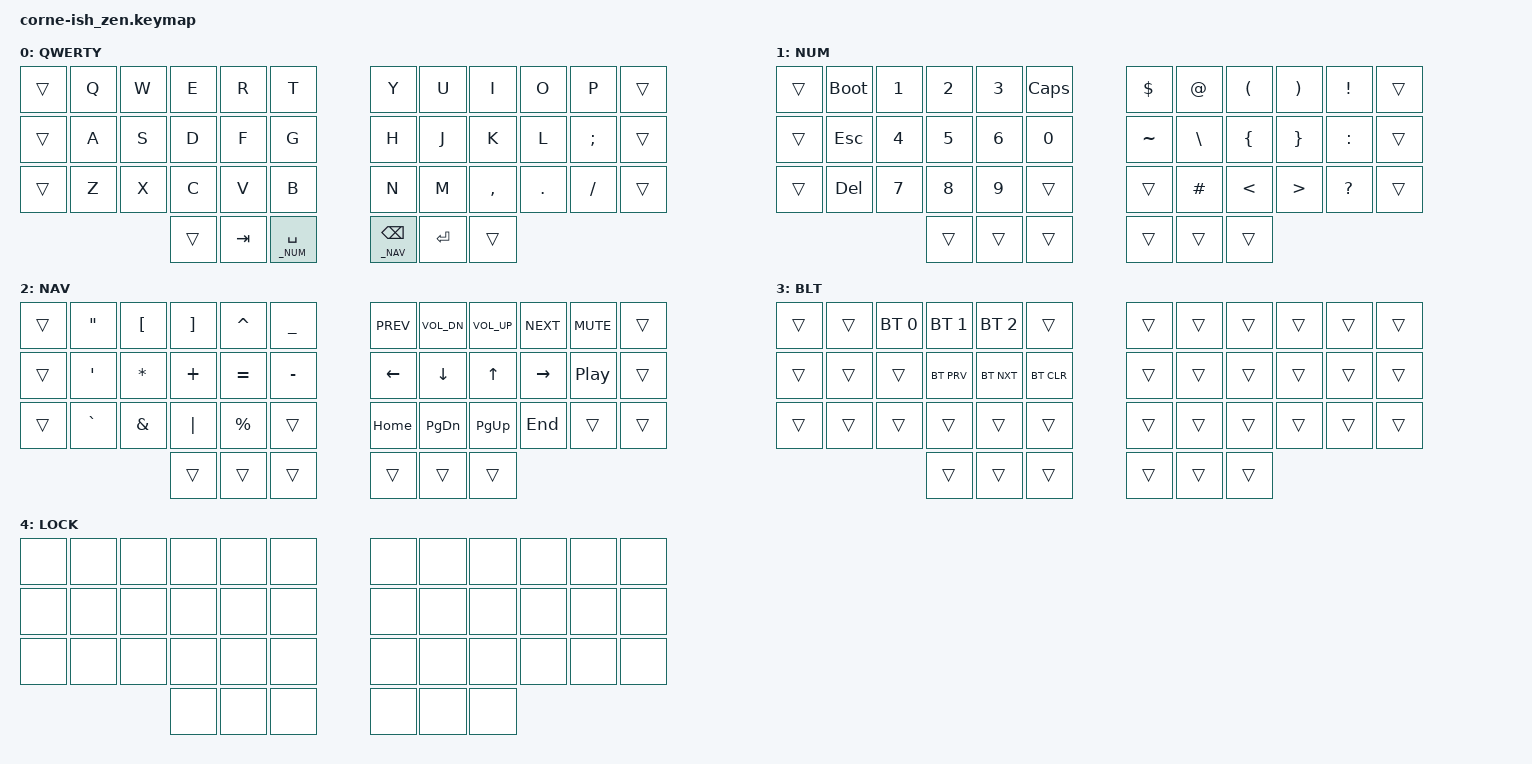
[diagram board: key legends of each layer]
#include <behaviors.dtsi>
#include <dt-bindings/zmk/keys.h>
#include <dt-bindings/zmk/bt.h>

#define _DEF 0
#define _NUM 1
#define _NAV 2
#define _BLT 3
#define _LCK 4

&lt { quick_tap_ms = <200>; };

/ {
        combos {
		compatible = "zmk,combos";

		// left mods
		lsft_c {
			timeout-ms = <50>;
			key-positions = <37 16>;
			bindings = <&kp LSHFT>;
		};

		lctl_c {
			timeout-ms = <50>;
			key-positions = <37 15>;
			bindings = <&kp LCTRL>;
		};

		lalt_c {
			timeout-ms = <50>;
			key-positions = <37 14>;
			bindings = <&kp LALT>;
		};

		lgui_c {
			timeout-ms = <50>;
			key-positions = <37 13>;
			bindings = <&kp LGUI>;
		};

		// right mods
		rsft_c {
			timeout-ms = <50>;
			key-positions = <40 19>;
			bindings = <&kp LSHFT>;
		};

		rctl_c {
			timeout-ms = <50>;
			key-positions = <40 20>;
			bindings = <&kp LCTRL>;
		};

		ralt_c {
			timeout-ms = <50>;
			key-positions = <40 21>;
			bindings = <&kp LALT>;
		};

		rgui_c {
			timeout-ms = <50>;
			key-positions = <40 22>;
			bindings = <&kp RGUI>;
		};

		// layers
		blt_c {
			timeout-ms = <50>;
			key-positions = <40 7>;
			bindings = <&mo _BLT>;
		};

		lock {
			timeout-ms = <50>;
			key-positions = <36 41>;
			bindings = <&tog _LCK>;
		};
	};

        keymap {
                compatible = "zmk,keymap";

                default_layer {
			label = "QWERTY";
// -----------------------------------------------------------------------------------------
// |     |  Q  |  W  |  E  |  R  |  T  | . |  Y   |  U  |  I  |  O  |  P  |     |
// |     |  A  |  S  |  D  |  F  |  G  | . |  H   |  J  |  K  |  L  |  ;  |     |
// |     |  Z  |  X  |  C  |  V  |  B  | . |  N   |  M  |  ,  |  .  |  /  |     |
//                   |     | TAB | SPC | . | BSPC | RET |     |
                        bindings = <
   &trans  &kp Q  &kp W  &kp E  &kp R  &kp T    &kp Y  &kp U  &kp I      &kp O    &kp P     &trans
   &trans  &kp A  &kp S  &kp D  &kp F  &kp G    &kp H  &kp J  &kp K      &kp L    &kp SEMI  &trans
   &trans  &kp Z  &kp X  &kp C  &kp V  &kp B    &kp N  &kp M  &kp COMMA  &kp DOT  &kp FSLH  &trans
             &trans  &kp TAB  &lt _NUM SPACE    &lt _NAV BSPC  &kp RET  &trans
                        >;
                };

                number_layer {
			label = "NUM";
// -----------------------------------------------------------------------------------------
// |     | RST |  1  |  2  |  3  | CAPS | . |  $  |  @  |  (  |  )  |  !  |     |
// |     | ESC |  4  |  5  |  6  |  0   | . |  ~  |  \  |  {  |  }  |  :  |     |
// |     | DEL |  7  |  8  |  9  |      | . |     |  #  |  <  |  >  |  ?  |     |
//                   |     |     |      | . |     |     |     |
                        bindings = <
   &trans  &bootloader  &kp N1  &kp N2  &kp N3  &kp CAPS    &kp DLLR   &kp AT    &kp LPAR  &kp RPAR  &kp EXCL   &trans
   &trans  &kp ESC      &kp N4  &kp N5  &kp N6  &kp N0      &kp TILDE  &kp BSLH  &kp LBRC  &kp RBRC  &kp COLON  &trans
   &trans  &kp DEL      &kp N7  &kp N8  &kp N9  &trans      &trans     &kp HASH  &kp LT    &kp GT    &kp QMARK  &trans
                                  &trans  &trans  &trans    &trans  &trans  &trans
                        >;
                };

                navigation_layer {
			label = "NAV";
// -----------------------------------------------------------------------------------------
// |     |  "  |  [  |  ]  |  ^  |  _  | . | PREV | VDN  | VUP  | NEXT | MUTE |     |
// |     |  '  |  *  |  +  |  =  |  -  | . |  <   |  v   |  ^   |  >   | PLAY |     |
// |     |  `  |  &  |  |  |  %  |     | . | HOME | PGDN | PGUP | END  |      |     |
//                   |     |     |     | . |      |      |      |
                        bindings = <
   &trans  &kp DQT    &kp LBKT  &kp RBKT  &kp CARET  &kp UNDER    &kp C_PREV  &kp C_VOL_DN  &kp C_VOL_UP  &kp C_NEXT  &kp C_MUTE  &trans
   &trans  &kp SQT    &kp STAR  &kp PLUS  &kp EQUAL  &kp MINUS    &kp LEFT    &kp DOWN      &kp UP        &kp RIGHT   &kp C_PP    &trans
   &trans  &kp GRAVE  &kp AMPS  &kp PIPE  &kp PRCNT  &trans       &kp HOME    &kp PG_DN     &kp PG_UP     &kp END     &trans      &trans
                                        &trans  &trans  &trans    &trans  &trans  &trans
                        >;
                };

                bluetooth_layer {
			label = "BLT";
// -----------------------------------------------------------------------------------------
// |     |     | BT0 | BT1 | BT2 |     | . |     |     |     |     |     |     |
// |     |     |     | PRV | NXT | CLR | . |     |     |     |     |     |     |
// |     |     |     |     |     |     | . |     |     |     |     |     |     |
//                   |     |     |     | . |     |     |     |
                        bindings = <
   &trans  &trans  &bt BT_SEL 0  &bt BT_SEL 1  &bt BT_SEL 2  &trans        &trans  &trans  &trans  &trans  &trans  &trans
   &trans  &trans  &trans        &bt BT_PRV    &bt BT_NXT    &bt BT_CLR    &trans  &trans  &trans  &trans  &trans  &trans
   &trans  &trans  &trans        &trans        &trans        &trans        &trans  &trans  &trans  &trans  &trans  &trans
                           &trans  &trans  &trans    &trans  &trans  &trans
                        >;
                };

                lock_layer {
			label = "LOCK";
// -----------------------------------------------------------------------------------------
// |     |     |     |     |     |     | . |     |     |     |     |     |     |
// |     |     |     |     |     |     | . |     |     |     |     |     |     |
// |     |     |     |     |     |     | . |     |     |     |     |     |     |
//                   |     |     |     | . |     |     |     |
                        bindings = <
   &none  &none  &none  &none  &none  &none    &none  &none  &none  &none  &none  &none
   &none  &none  &none  &none  &none  &none    &none  &none  &none  &none  &none  &none
   &none  &none  &none  &none  &none  &none    &none  &none  &none  &none  &none  &none
                        &none  &none  &none    &none  &none  &none
                        >;
                };

//                 template_layer {
// // -----------------------------------------------------------------------------------------
// // |     |     |     |     |     |     | . |     |     |     |     |     |     |
// // |     |     |     |     |     |     | . |     |     |     |     |     |     |
// // |     |     |     |     |     |     | . |     |     |     |     |     |     |
// //                   |     |     |     | . |     |     |     |
//                         bindings = <
//    &trans  &trans  &trans  &trans  &trans  &trans    &trans  &trans  &trans  &trans  &trans  &trans
//    &trans  &trans  &trans  &trans  &trans  &trans    &trans  &trans  &trans  &trans  &trans  &trans
//    &trans  &trans  &trans  &trans  &trans  &trans    &trans  &trans  &trans  &trans  &trans  &trans
//                            &trans  &trans  &trans    &trans  &trans  &trans
//                         >;
//                 };
        };
};
